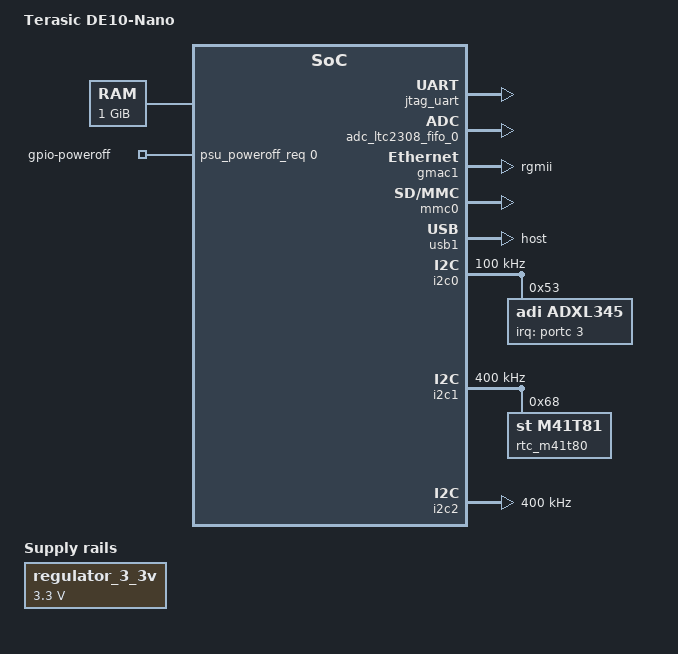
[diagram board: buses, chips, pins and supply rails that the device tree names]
/*
 * Copyright (C) 2017, Intel Corporation
 *
 * based on socfpga_cyclone5_de10_nano_soc.dts
 *
 * SPDX-License-Identifier:	GPL-2.0+
 */

#include "socfpga_cyclone5.dtsi"

/ {
	model = "Terasic DE10-Nano";
	compatible = "altr,socfpga-cyclone5", "altr,socfpga";

	chosen {
		bootargs = "console=ttyS0,115200n8 earlyprintk=serial,ttyS0,115200n8 uio_pdrv_genirq.of_id=generic-uio";
		stdout-path = "display0";
	};

	aliases {
		ethernet0 = &gmac1;
		udc0 = &usb1;
		display0 = &framebuffer;
	};

	memory {
		name = "memory";
		device_type = "memory";
		reg = <0x0 0x40000000>; /* 1GB */
	};

        regulator_3_3v: 3-3-v-regulator {
                compatible = "regulator-fixed";
                regulator-name = "3.3V";
                regulator-min-microvolt = <3300000>;
                regulator-max-microvolt = <3300000>;
        };

	soc {
		u-boot,dm-pre-reloc;

		clkmgr@ffd04000 {
			clocks {
				osc1 {
					clock-frequency = <50000000>;
				};
			};
		};

		hps_led {
		    compatible = "gpio-leds";
		    label = "hps:blue:led0";
		    gpios = <&portb 24 0>; /* HPS_GPIO53 */
		    linux,default-trigger = "heartbeat";
		};
		
		hps_0_bridges: bridge@c0000000 {
		    compatible = "altr,bridge-18.1", "simple-bus";
		    reg = <0xc0000000 0x20000000>, <0xff200000 0x00200000>;
		    reg-names = "axi_h2f", "axi_h2f_lw";
		    #address-cells = <2>;
		    #size-cells = <1>;
		
		    ranges =	<0x00000001 0x00000060 0xff200060 0x00000008>,
				<0x00000001 0x00000040 0xff200040 0x00000010>,
				<0x00000001 0x00000030 0xff200030 0x00000010>,
				<0x00000001 0x00000020 0xff200020 0x00000010>,
				<0x00000001 0x00000010 0xff200010 0x00000010>,
				<0x00000001 0x00000000 0xff200000 0x00000010>,
				<0x00000001 0x00000050 0xff200050 0x00000008>,
				<0x00000001 0x00000058 0xff200058 0x00000008>,
				<0x00000001 0x00010000 0xff210000 0x00010000>,
				<0x00000001 0x00008000 0xff208000 0x00000040>,
				<0x00000001 0x0000b000 0xff20b000 0x00000020>,
				<0x00000001 0x0000c000 0xff20c000 0x00000020>,
				<0x00000001 0x0000d000 0xff20d000 0x00000020>;

		    jtag_uart: serial@100000060 {
			compatible = "altr,juart-18.1", "altr,juart-1.0";
			reg = <0x00000001 0x00000060 0x00000008>;
			interrupt-parent = <&intc>;
			interrupts = <0 41 4>;
			clocks = <&osc1>;
		    };

		    fpga_leds: gpio@100000040 {
			compatible = "altr,pio-18.1", "altr,pio-1.0";
			reg = <0x00000001 0x00000040 0x00000010>;
			clocks = <&osc1>;
			altr,gpio-bank-width = <7>;
			resetvalue = <0>;
			#gpio-cells = <2>;
			gpio-controller;
		    };

		    dipsw_pio: gpio@100000030 {
			compatible = "altr,pio-18.1", "altr,pio-1.0";
			reg = <0x00000001 0x00000030 0x00000010>;
			interrupt-parent = <&intc>;
			interrupts = <0 42 1>;
			clocks = <&osc1>;
			altr,gpio-bank-width = <4>;
			altr,interrupt-type = <3>;
			edge_type = <2>;
			level_trigger = <0>;
			resetvalue = <0>;
			#gpio-cells = <2>;
			gpio-controller;
		    };

		    button_pio: gpio@100000020 {
			compatible = "altr,pio-18.1", "altr,pio-1.0";
			reg = <0x00000001 0x00000020 0x00000010>;
			interrupt-parent = <&intc>;
			interrupts = <0 43 1>;
			clocks = <&osc1>;
			altr,gpio-bank-width = <2>;
			altr,interrupt-type = <2>;
			edge_type = <1>;
			level_trigger = <0>;
			resetvalue = <0>;
			#gpio-cells = <2>;
			gpio-controller;
		    };

		    psu_button: power_button@100000010 {
			compatible = "altr,pio-18.1", "altr,pio-1.0";
			reg = <0x00000001 0x00000010 0x00000010>;
			interrupt-parent = <&intc>;
			interrupts = <0 46 4>;
			clocks = <&osc1>;
			altr,gpio-bank-width = <1>;
			altr,interrupt-type = <4>;
			altr,ngpio = <1>;
			level_trigger = <1>;
			resetvalue = <0>;
			#gpio-cells = <2>;
			gpio-controller;
			reg-names = "pressed";
		    };

		    psu_poweroff_req: power_down@100000000 {
			compatible = "altr,pio-18.1", "altr,pio-1.0";
			reg = <0x00000001 0x00000000 0x00000010>;
			clocks = <&osc1>;
			altr,gpio-bank-width = <1>;
			altr,ngpio = <1>;
			resetvalue = <0>;
			#gpio-cells = <2>;
			gpio-controller;
			reg-names = "signal";
		    };

		    locked_pio: gpio@10000d000 {
			compatible = "altr,pio-18.1", "altr,pio-1.0";
			reg = <0x00000001 0x0000d000 0x00000020>;
			clocks = <&osc1>;
			altr,gpio-bank-width = <1>;
			resetvalue = <0>;
			#gpio-cells = <2>;
			gpio-controller;
		    };

		    cvo_reset_pio: gpio@10000c000 {
			compatible = "altr,pio-18.1", "altr,pio-1.0";
			reg = <0x00000001 0x0000c000 0x00000020>;
			clocks = <&osc1>;
			altr,gpio-bank-width = <1>;
			resetvalue = <0>;
			#gpio-cells = <2>;
			gpio-controller;
		    };

		    pll_reset_pio: gpio@10000b000 {
			compatible = "altr,pio-18.1", "altr,pio-1.0";
			reg = <0x00000001 0x0000b000 0x00000020>;
			clocks = <&osc1>;
			altr,gpio-bank-width = <1>;
			resetvalue = <0>;
			#gpio-cells = <2>;
			gpio-controller;
		    };

		    sysid_qsys: sysid@100000058 {
			compatible = "altr,sysid-18.1", "altr,sysid-1.0";
			reg = <0x00000001 0x00000058 0x00000008>;
			id = <2899645442>;
			timestamp = <1515961589>;
		    };

		    hm2reg_io_0: hm2-socfpga0@100010000 {
			compatible = "generic-uio";
			reg = <0x00000001 0x00010000 0x00010000>;
			interrupt-parent = <&intc>;
			interrupts = <0 44 4>;
			clocks = <&osc1>;
			address_width = <14>;
			data_width = <32>;
		    };

		    adc_ltc2308_fifo_0: adc-ltc2308@100000050 {
			compatible = "holotc,adc-io-1.1";
			reg = <0x00000001 0x00000050 0x00000008>;
			address_width = <3>;
			data_width = <16>;
		    };

		    framebuffer: framebuffer@100008000 {
			compatible = "altr,vip-18.1", "altr,vip-frame-buffer-2.0";
			reg = <0x00000001 0x00008000 0x00000040>;
			interrupt-parent = <&intc>;
			interrupts = <0 40 4>;
			altr,bits-per-symbol = <8>;
			altr,max-width = <1024>;
			altr,max-height = <768>;
			altr,mem-port-width = <256>;
		    };
		};
	};
	
	gpio-poweroff {
	    compatible = "gpio-poweroff";
	    gpios = <&psu_poweroff_req 0 0>;
	    status = "okay";
	};
};

&gmac1 {
	status = "okay";
	phy-mode = "rgmii";

	rxd0-skew-ps = <420>;
	rxd1-skew-ps = <420>;
	rxd2-skew-ps = <420>;
	rxd3-skew-ps = <420>;
	txen-skew-ps = <0>;
	txc-skew-ps = <1860>;
	rxdv-skew-ps = <420>;
	rxc-skew-ps = <1680>;
};

&gpio0 {
	status = "disabled";
};

&gpio1 {
	status = "okay";
};

&gpio2 {
	status = "disabled";
};

&mmc0 {
	status = "okay";
};

&usb1 {
	dr_mode = "host";
	status = "okay";
};

&i2c0 {
	status = "okay";
	clock-frequency = <100000>;

	adxl345: adxl345@0 {
		compatible = "adi,adxl345";
		reg = <0x53>;

		interrupt-parent = <&portc>;
		interrupts = <3 2>;
	};
};

&i2c1 {
	status = "okay";
	clock-frequency = <400000>;

	rtc_m41t80: m41t80@0 {
		compatible = "st,m41t81";
		reg = <0x68>;
	};
};

&i2c2 {
	status = "okay";
	clock-frequency = <400000>;
};
